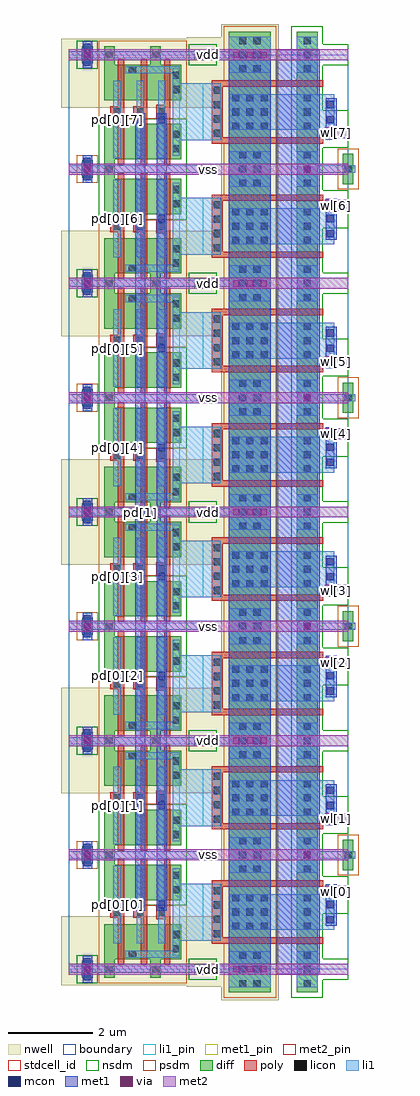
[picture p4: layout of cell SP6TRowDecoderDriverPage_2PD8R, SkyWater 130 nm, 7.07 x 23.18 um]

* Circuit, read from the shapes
.subckt SP6TRowDecoderDriverPage_2PD8R pd[0][0] pd[0][1] pd[0][2] pd[0][3] pd[0][4] pd[0][5] pd[0][6] pd[0][7] pd[1] vdd vss wl[0] wl[1] wl[2] wl[3] wl[4] wl[5] wl[6] wl[7] wl_en
XM1 n1 pd[0][0] vss VSUBS sky130_fd_pr__nfet_01v8 w=0.84 l=0.15
XM2 n2 pd[0][1] vss VSUBS sky130_fd_pr__nfet_01v8 w=0.84 l=0.15
XM3 n3 pd[0][2] vss VSUBS sky130_fd_pr__nfet_01v8 w=0.84 l=0.15
XM4 n4 pd[0][3] vss VSUBS sky130_fd_pr__nfet_01v8 w=0.84 l=0.15
XM5 n5 pd[0][4] vss VSUBS sky130_fd_pr__nfet_01v8 w=0.84 l=0.15
XM6 n6 pd[0][5] vss VSUBS sky130_fd_pr__nfet_01v8 w=0.84 l=0.15
XM7 n7 pd[0][6] vss VSUBS sky130_fd_pr__nfet_01v8 w=0.84 l=0.15
XM8 n8 pd[0][7] vss VSUBS sky130_fd_pr__nfet_01v8 w=0.84 l=0.15
XM9 n9 pd[1] n1 VSUBS sky130_fd_pr__nfet_01v8 w=0.84 l=0.15
XM10 n10 pd[1] n2 VSUBS sky130_fd_pr__nfet_01v8 w=0.84 l=0.15
XM11 n11 pd[1] n3 VSUBS sky130_fd_pr__nfet_01v8 w=0.84 l=0.15
XM12 n12 pd[1] n4 VSUBS sky130_fd_pr__nfet_01v8 w=0.84 l=0.15
XM13 n13 pd[1] n5 VSUBS sky130_fd_pr__nfet_01v8 w=0.84 l=0.15
XM14 n14 pd[1] n6 VSUBS sky130_fd_pr__nfet_01v8 w=0.84 l=0.15
XM15 n15 pd[1] n7 VSUBS sky130_fd_pr__nfet_01v8 w=0.84 l=0.15
XM16 n16 pd[1] n8 VSUBS sky130_fd_pr__nfet_01v8 w=0.84 l=0.15
XM17 SP6TRowDecoderNand3_0/wl_n wl_en n9 VSUBS sky130_fd_pr__nfet_01v8 w=0.84 l=0.15
XM18 SP6TRowDecoderNand3_2/wl_n wl_en n10 VSUBS sky130_fd_pr__nfet_01v8 w=0.84 l=0.15
XM19 SP6TRowDecoderNand3_4/wl_n wl_en n11 VSUBS sky130_fd_pr__nfet_01v8 w=0.84 l=0.15
XM20 SP6TRowDecoderNand3_6/wl_n wl_en n12 VSUBS sky130_fd_pr__nfet_01v8 w=0.84 l=0.15
XM21 SP6TRowDecoderNand3_8/wl_n wl_en n13 VSUBS sky130_fd_pr__nfet_01v8 w=0.84 l=0.15
XM22 SP6TRowDecoderNand3_10/wl_n wl_en n14 VSUBS sky130_fd_pr__nfet_01v8 w=0.84 l=0.15
XM23 SP6TRowDecoderNand3_12/wl_n wl_en n15 VSUBS sky130_fd_pr__nfet_01v8 w=0.84 l=0.15
XM24 SP6TRowDecoderNand3_14/wl_n wl_en n16 VSUBS sky130_fd_pr__nfet_01v8 w=0.84 l=0.15
XM25 wl[0] SP6TRowDecoderNand3_0/wl_n vss VSUBS sky130_fd_pr__nfet_01v8 w=0.5 l=0.15 m=2
XM26 wl[1] SP6TRowDecoderNand3_2/wl_n vss VSUBS sky130_fd_pr__nfet_01v8 w=0.5 l=0.15 m=2
XM27 wl[2] SP6TRowDecoderNand3_4/wl_n vss VSUBS sky130_fd_pr__nfet_01v8 w=0.5 l=0.15 m=2
XM28 wl[3] SP6TRowDecoderNand3_6/wl_n vss VSUBS sky130_fd_pr__nfet_01v8 w=0.5 l=0.15 m=2
XM29 wl[4] SP6TRowDecoderNand3_8/wl_n vss VSUBS sky130_fd_pr__nfet_01v8 w=0.5 l=0.15 m=2
XM30 wl[5] SP6TRowDecoderNand3_10/wl_n vss VSUBS sky130_fd_pr__nfet_01v8 w=0.5 l=0.15 m=2
XM31 wl[6] SP6TRowDecoderNand3_12/wl_n vss VSUBS sky130_fd_pr__nfet_01v8 w=0.5 l=0.15 m=2
XM32 wl[7] SP6TRowDecoderNand3_14/wl_n vss VSUBS sky130_fd_pr__nfet_01v8 w=0.5 l=0.15 m=2
XM33 SP6TRowDecoderNand3_0/wl_n pd[0][0] vdd n17 sky130_fd_pr__pfet_01v8 w=0.84 l=0.15
XM34 SP6TRowDecoderNand3_2/wl_n pd[0][1] vdd n17 sky130_fd_pr__pfet_01v8 w=0.84 l=0.15
XM35 SP6TRowDecoderNand3_4/wl_n pd[0][2] vdd n17 sky130_fd_pr__pfet_01v8 w=0.84 l=0.15
XM36 SP6TRowDecoderNand3_6/wl_n pd[0][3] vdd n17 sky130_fd_pr__pfet_01v8 w=0.84 l=0.15
XM37 SP6TRowDecoderNand3_8/wl_n pd[0][4] vdd n17 sky130_fd_pr__pfet_01v8 w=0.84 l=0.15
XM38 SP6TRowDecoderNand3_10/wl_n pd[0][5] vdd n17 sky130_fd_pr__pfet_01v8 w=0.84 l=0.15
XM39 SP6TRowDecoderNand3_12/wl_n pd[0][6] vdd n17 sky130_fd_pr__pfet_01v8 w=0.84 l=0.15
XM40 SP6TRowDecoderNand3_14/wl_n pd[0][7] vdd n17 sky130_fd_pr__pfet_01v8 w=0.84 l=0.15
XM41 vdd pd[1] SP6TRowDecoderNand3_0/wl_n n17 sky130_fd_pr__pfet_01v8 w=0.84 l=0.15
XM42 vdd pd[1] SP6TRowDecoderNand3_2/wl_n n17 sky130_fd_pr__pfet_01v8 w=0.84 l=0.15
XM43 vdd pd[1] SP6TRowDecoderNand3_4/wl_n n17 sky130_fd_pr__pfet_01v8 w=0.84 l=0.15
XM44 vdd pd[1] SP6TRowDecoderNand3_6/wl_n n17 sky130_fd_pr__pfet_01v8 w=0.84 l=0.15
XM45 vdd pd[1] SP6TRowDecoderNand3_8/wl_n n17 sky130_fd_pr__pfet_01v8 w=0.84 l=0.15
XM46 vdd pd[1] SP6TRowDecoderNand3_10/wl_n n17 sky130_fd_pr__pfet_01v8 w=0.84 l=0.15
XM47 vdd pd[1] SP6TRowDecoderNand3_12/wl_n n17 sky130_fd_pr__pfet_01v8 w=0.84 l=0.15
XM48 vdd pd[1] SP6TRowDecoderNand3_14/wl_n n17 sky130_fd_pr__pfet_01v8 w=0.84 l=0.15
XM49 SP6TRowDecoderNand3_0/wl_n wl_en vdd n17 sky130_fd_pr__pfet_01v8 w=0.84 l=0.15
XM50 SP6TRowDecoderNand3_2/wl_n wl_en vdd n17 sky130_fd_pr__pfet_01v8 w=0.84 l=0.15
XM51 SP6TRowDecoderNand3_4/wl_n wl_en vdd n17 sky130_fd_pr__pfet_01v8 w=0.84 l=0.15
XM52 SP6TRowDecoderNand3_6/wl_n wl_en vdd n17 sky130_fd_pr__pfet_01v8 w=0.84 l=0.15
XM53 SP6TRowDecoderNand3_8/wl_n wl_en vdd n17 sky130_fd_pr__pfet_01v8 w=0.84 l=0.15
XM54 SP6TRowDecoderNand3_10/wl_n wl_en vdd n17 sky130_fd_pr__pfet_01v8 w=0.84 l=0.15
XM55 SP6TRowDecoderNand3_12/wl_n wl_en vdd n17 sky130_fd_pr__pfet_01v8 w=0.84 l=0.15
XM56 SP6TRowDecoderNand3_14/wl_n wl_en vdd n17 sky130_fd_pr__pfet_01v8 w=0.84 l=0.15
XM57 wl[0] SP6TRowDecoderNand3_0/wl_n vdd n17 sky130_fd_pr__pfet_01v8 w=1 l=0.15 m=2
XM58 wl[1] SP6TRowDecoderNand3_2/wl_n vdd n17 sky130_fd_pr__pfet_01v8 w=1 l=0.15 m=2
XM59 wl[2] SP6TRowDecoderNand3_4/wl_n vdd n17 sky130_fd_pr__pfet_01v8 w=1 l=0.15 m=2
XM60 wl[3] SP6TRowDecoderNand3_6/wl_n vdd n17 sky130_fd_pr__pfet_01v8 w=1 l=0.15 m=2
XM61 wl[4] SP6TRowDecoderNand3_8/wl_n vdd n17 sky130_fd_pr__pfet_01v8 w=1 l=0.15 m=2
XM62 wl[5] SP6TRowDecoderNand3_10/wl_n vdd n17 sky130_fd_pr__pfet_01v8 w=1 l=0.15 m=2
XM63 wl[6] SP6TRowDecoderNand3_12/wl_n vdd n17 sky130_fd_pr__pfet_01v8 w=1 l=0.15 m=2
XM64 wl[7] SP6TRowDecoderNand3_14/wl_n vdd n17 sky130_fd_pr__pfet_01v8 w=1 l=0.15 m=2
.ends

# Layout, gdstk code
import gdstk
lib = gdstk.Library(unit=1e-6, precision=1e-09)
def R(c, l, rs):  # rectangles x0, y0, x1, y1
    for r in rs: c.add(gdstk.rectangle(r[:2], r[2:], *l))
def A(c, l, x, y, w, h, nx, ny, dx, dy):  # array of equal rectangles
    R(c, l, [(x+i*dx, y+j*dy, x+i*dx+w, y+j*dy+h) for i in range(nx) for j in range(ny)])
def P(c, l, *ps):  # polygons
    for p in ps: c.add(gdstk.Polygon(p, *l))
nwell = (64, 20)
diff = (65, 20)
poly = (66, 20)
licon = (66, 44)
li1_pin = (67, 16)
li1 = (67, 20)
mcon = (67, 44)
met1_pin = (68, 16)
met1 = (68, 20)
via = (68, 44)
met2_pin = (69, 16)
met2 = (69, 20)
stdcell_id = (81, 4)
nsdm = (93, 44)
psdm = (94, 20)
boundary = (235, 4)

sp6trowdecodernand3 = lib.new_cell('SP6TRowDecoderNand3')
R(sp6trowdecodernand3, nwell, [(-0.18,1.46,4.02,3.1)])
R(sp6trowdecodernand3, diff, [(0.315,-0.205,0.565,0.205), (0.315,2.51,0.565,2.92)])
P(sp6trowdecodernand3, diff, [(0.835,-0.205),(0.835,1.075),(2.675,1.075),(2.675,0.235),(1.085,0.235),(1.085,-0.205)],
  [(0.835,1.64),(0.835,2.92),(1.085,2.92),(1.085,2.48),(1.935,2.48),(1.935,2.92),(2.185,2.92),(2.185,2.48),(2.675,2.48),(2.675,1.64)])
P(sp6trowdecodernand3, poly, [(1.16,0.105),(1.16,1.225),(0.98,1.225),(0.98,1.495),(1.16,1.495),(1.16,2.61),(1.31,2.61),(1.31,0.105)],
  [(1.71,0.105),(1.71,1.225),(1.53,1.225),(1.53,1.495),(1.71,1.495),(1.71,2.61),(1.86,2.61),(1.86,0.105)],
  [(2.26,0.105),(2.26,1.195),(2.07,1.195),(2.07,1.525),(2.26,1.525),(2.26,2.61),(2.41,2.61),(2.41,0.105)])
R(sp6trowdecodernand3, licon, [(0.355,-0.085,0.525,0.085), (0.875,-0.085,1.045,0.085), (2.465,0.4,2.635,0.57), (2.465,0.74,2.635,0.91), (1.06,1.275,1.23,1.445), (1.61,1.275,1.78,1.445), (2.12,1.275,2.29,1.445), (2.465,1.805,2.635,1.975), (2.465,2.145,2.635,2.315), (1.425,2.27,1.595,2.44), (0.355,2.63,0.525,2.8), (0.875,2.63,1.045,2.8), (1.975,2.63,2.145,2.8)])
R(sp6trowdecodernand3, li1_pin, [(1.06,0.255,1.23,2.1), (1.61,0.255,1.78,2.1), (2.12,0.255,2.29,2.1), (2.465,0.32,2.635,2.395)])
R(sp6trowdecodernand3, li1, [(1.06,0.255,1.23,2.1), (1.61,0.255,1.78,2.1), (2.12,0.255,2.29,2.1)])
P(sp6trowdecodernand3, li1, [(0.355,-0.265),(0.355,-0.085),(0,-0.085),(0,0.085),(0.355,0.085),(0.355,0.265),(0.525,0.265),(0.525,0.085),(3.18,0.085),(3.18,-0.085),(0.525,-0.085),(0.525,-0.265)],
  [(0.355,2.45),(0.355,2.63),(0,2.63),(0,2.8),(0.355,2.8),(0.355,2.98),(0.525,2.98),(0.525,2.8),(3.18,2.8),(3.18,2.63),(0.525,2.63),(0.525,2.45)],
  [(2.465,0.32),(2.465,2.27),(1.345,2.27),(1.345,2.44),(2.635,2.44),(2.635,0.32)])
R(sp6trowdecodernand3, mcon, [(0.355,-0.265,0.525,-0.095), (0.355,0.095,0.525,0.265), (0.355,2.45,0.525,2.62), (0.355,2.81,0.525,2.98)])
P(sp6trowdecodernand3, met1, [(0.325,-0.325),(0.325,-0.16),(0.31,-0.16),(0.31,0.16),(0.325,0.16),(0.325,0.325),(0.555,0.325),(0.555,0.16),(0.57,0.16),(0.57,-0.16),(0.555,-0.16),(0.555,-0.325)],
  [(0.325,2.39),(0.325,2.555),(0.31,2.555),(0.31,2.875),(0.325,2.875),(0.325,3.04),(0.555,3.04),(0.555,2.875),(0.57,2.875),(0.57,2.555),(0.555,2.555),(0.555,2.39)])
R(sp6trowdecodernand3, via, [(0.365,-0.075,0.515,0.075), (0.365,2.64,0.515,2.79)])
R(sp6trowdecodernand3, met2_pin, [(0,-0.13,3.18,0.13), (0,2.585,3.18,2.845)])
R(sp6trowdecodernand3, met2, [(0,-0.13,3.18,0.13), (0,2.585,3.18,2.845)])
A(sp6trowdecodernand3, stdcell_id, 1.155, 0.23, 0.16, 0.85, 3, 1, 0.55, 0)
R(sp6trowdecodernand3, nsdm, [(0.71,-0.33,2.8,1.2), (0.19,2.385,0.69,3.045)])
R(sp6trowdecodernand3, psdm, [(0.19,-0.33,0.69,0.33), (0.71,1.2,2.8,3.045)])
R(sp6trowdecodernand3, boundary, [(0,0,3.18,2.715)])
sp6trowdecodernand3.add(gdstk.Label('vss', (1.59,0), layer=69, texttype=16))
sp6trowdecodernand3.add(gdstk.Label('vdd', (1.59,2.715), layer=69, texttype=16))
sp6trowdecodernand3.add(gdstk.Label('pd[0]', (1.145,1.177), layer=67, texttype=16))
sp6trowdecodernand3.add(gdstk.Label('wl_n', (2.55,1.357), layer=67, texttype=16))
sp6trowdecodernand3.add(gdstk.Label('pd[1]', (1.695,1.177), layer=67, texttype=16))
sp6trowdecodernand3.add(gdstk.Label('wl_en', (2.205,1.177), layer=67, texttype=16))

sp6twldrive_30ln100wn30l = lib.new_cell('SP6TWLDrive_30LN100WN30LP200WP')
P(sp6twldrive_30ln100wn30l, nwell, [(-3.015,-0.73),(-3.015,2.295),(-3.84,2.295),(-3.84,3.135),(-3.015,3.135),(-3.015,3.445),(-1.655,3.445),(-1.655,-0.73)])
R(sp6twldrive_30ln100wn30l, diff, [(-2.835,-0.55,-1.835,3.265), (-1.225,-0.55,-0.725,3.265), (-0.125,-0.36,0.125,0.36), (-3.66,2.59,-3.25,2.84)])
P(sp6twldrive_30ln100wn30l, poly, [(-3.245,0.605),(-3.245,2.11),(-0.595,2.11),(-0.595,1.96),(-2.975,1.96),(-2.975,0.755),(-0.595,0.755),(-0.595,0.605)])
A(sp6twldrive_30ln100wn30l, licon, -2.59, -0.425, 0.17, 0.17, 1, 3, 0, 0.34)
A(sp6twldrive_30ln100wn30l, licon, -2.25, -0.425, 0.17, 0.17, 1, 3, 0, 0.34)
A(sp6twldrive_30ln100wn30l, licon, -1.06, -0.425, 0.17, 0.17, 1, 3, 0, 0.34)
A(sp6twldrive_30ln100wn30l, licon, -3.195, 0.765, 0.17, 0.17, 1, 4, 0, 0.34)
A(sp6twldrive_30ln100wn30l, licon, -2.76, 0.93, 0.17, 0.17, 3, 3, 0.34, 0.34)
A(sp6twldrive_30ln100wn30l, licon, -1.06, 0.93, 0.17, 0.17, 1, 3, 0, 0.34)
A(sp6twldrive_30ln100wn30l, licon, -2.59, 2.29, 0.17, 0.17, 1, 3, 0, 0.34)
A(sp6twldrive_30ln100wn30l, licon, -2.25, 2.29, 0.17, 0.17, 1, 3, 0, 0.34)
A(sp6twldrive_30ln100wn30l, licon, -1.06, 2.29, 0.17, 0.17, 1, 3, 0, 0.34)
R(sp6twldrive_30ln100wn30l, licon, [(-0.085,-0.085,0.085,0.085), (-3.54,2.63,-3.37,2.8)])
R(sp6twldrive_30ln100wn30l, li1_pin, [(-3.455,0.685,-3.025,2.035)])
R(sp6twldrive_30ln100wn30l, li1, [(-2.835,-0.425,-1.835,0.425), (-3.455,0.685,-3.025,2.035), (-2.84,0.93,-0.335,1.78), (-1.225,2.29,-0.725,3.14)])
P(sp6twldrive_30ln100wn30l, li1, [(-1.225,-0.425),(-1.225,0.425),(-0.725,0.425),(-0.725,0.085),(0.165,0.085),(0.165,-0.085),(-0.725,-0.085),(-0.725,-0.425)],
  [(-2.835,2.29),(-2.835,2.63),(-3.62,2.63),(-3.62,2.8),(-2.835,2.8),(-2.835,3.14),(-1.835,3.14),(-1.835,2.29)])
R(sp6twldrive_30ln100wn30l, mcon, [(-2.6,-0.085,-2.43,0.085), (-2.24,-0.085,-2.07,0.085), (-1.06,-0.085,-0.89,0.085), (-0.505,1.09,-0.335,1.26), (-0.505,1.45,-0.335,1.62), (-2.6,2.63,-2.43,2.8), (-2.24,2.63,-2.07,2.8), (-1.06,2.63,-0.89,2.8)])
R(sp6twldrive_30ln100wn30l, met1, [(-2.835,-0.115,-1.835,2.845)])
P(sp6twldrive_30ln100wn30l, met1, [(-1.135,-0.13),(-1.135,-0.115),(-1.695,-0.115),(-1.695,2.83),(-0.675,2.83),(-0.675,-0.115),(-0.815,-0.115),(-0.815,-0.13)],
  [(-0.53,0.7),(-0.53,1.03),(-0.535,1.03),(-0.535,1.68),(-0.27,1.68),(-0.27,0.7)])
A(sp6twldrive_30ln100wn30l, via, -2.73, 2.64, 0.15, 0.15, 3, 1, 0.32, 0)
R(sp6twldrive_30ln100wn30l, via, [(-1.05,-0.075,-0.9,0.075), (-0.475,0.785,-0.325,0.935)])
R(sp6twldrive_30ln100wn30l, met2_pin, [(-3.455,-0.13,0,0.13), (-0.56,0.73,0,0.99), (-3.455,2.585,0,2.845)])
R(sp6twldrive_30ln100wn30l, met2, [(-3.455,-0.13,0,0.13), (-0.56,0.73,0,0.99), (-3.455,2.585,0,2.845)])
R(sp6twldrive_30ln100wn30l, stdcell_id, [(-1.23,0.6,-0.72,0.76), (-1.23,1.955,-0.72,2.115)])
R(sp6twldrive_30ln100wn30l, nsdm, [(-3.785,2.465,-3.125,2.965)])
P(sp6twldrive_30ln100wn30l, nsdm, [(-1.35,-0.675),(-1.35,3.39),(-0.6,3.39),(-0.6,2.965),(0,2.965),(0,2.465),(-0.6,2.465),(-0.6,1.4),(0,1.4),(0,0.505),(-0.6,0.505),(-0.6,-0.675)])
R(sp6twldrive_30ln100wn30l, psdm, [(-0.25,-0.485,0.25,0.485)])
P(sp6twldrive_30ln100wn30l, psdm, [(-2.96,-0.675),(-2.96,0.61),(-3.245,0.61),(-3.245,2.11),(-2.96,2.11),(-2.96,3.39),(-1.71,3.39),(-1.71,-0.675)])
R(sp6twldrive_30ln100wn30l, boundary, [(-3.455,0,0,2.715)])
sp6twldrive_30ln100wn30l.add(gdstk.Label('vss', (-1.728,0), layer=69, texttype=16))
sp6twldrive_30ln100wn30l.add(gdstk.Label('wl_drive', (-0.28,0.86), layer=69, texttype=16))
sp6twldrive_30ln100wn30l.add(gdstk.Label('vdd', (-1.728,2.715), layer=69, texttype=16))
sp6twldrive_30ln100wn30l.add(gdstk.Label('wl_n', (-3.24,1.36), layer=67, texttype=16))

sp6trowdecoderdriverpage = lib.new_cell('SP6TRowDecoderDriverPage_2PD8R')
R(sp6trowdecoderdriverpage, li1_pin, [(1.06,0.615,1.23,2.46), (1.06,2.97,1.23,4.815), (1.06,6.045,1.23,7.89), (1.06,8.4,1.23,10.245), (1.06,11.475,1.23,13.32), (1.06,13.83,1.23,15.675), (1.06,16.905,1.23,18.75), (1.06,19.26,1.23,21.105)])
R(sp6trowdecoderdriverpage, li1, [(1.06,0.615,1.23,2.46), (2.465,0.68,3.61,2.03), (1.61,1.455,1.78,1.625), (2.12,1.455,2.29,1.625), (1.06,2.97,1.23,4.815), (2.465,3.4,3.61,4.75), (1.61,3.805,1.78,3.975), (2.12,3.805,2.29,3.975), (1.06,6.045,1.23,7.89), (2.465,6.11,3.61,7.46), (1.61,6.88,1.78,7.05), (2.12,6.88,2.29,7.05), (1.06,8.4,1.23,10.245), (2.465,8.83,3.61,10.18), (1.61,9.235,1.78,9.405), (2.12,9.235,2.29,9.405), (1.06,11.475,1.23,13.32), (2.465,11.54,3.61,12.89), (1.61,12.315,1.78,12.485), (2.12,12.315,2.29,12.485), (1.06,13.83,1.23,15.675), (2.465,14.26,3.61,15.61), (1.61,14.665,1.78,14.835), (2.12,14.665,2.29,14.835), (1.06,16.905,1.23,18.75), (2.465,16.97,3.61,18.32), (1.61,17.745,1.78,17.915), (2.12,17.745,2.29,17.915), (1.06,19.26,1.23,21.105), (2.465,19.69,3.61,21.04), (1.61,20.095,1.78,20.265), (2.12,20.095,2.29,20.265)])
R(sp6trowdecoderdriverpage, mcon, [(1.61,1.455,1.78,1.625), (2.12,1.455,2.29,1.625), (1.61,3.805,1.78,3.975), (2.12,3.805,2.29,3.975), (1.61,6.88,1.78,7.05), (2.12,6.88,2.29,7.05), (1.61,9.235,1.78,9.405), (2.12,9.235,2.29,9.405), (1.61,12.315,1.78,12.485), (2.12,12.315,2.29,12.485), (1.61,14.665,1.78,14.835), (2.12,14.665,2.29,14.835), (1.61,17.745,1.78,17.915), (2.12,17.745,2.29,17.915), (1.61,20.095,1.78,20.265), (2.12,20.095,2.29,20.265)])
R(sp6trowdecoderdriverpage, met1_pin, [(1.58,1.395,1.81,20.325), (2.09,1.395,2.32,20.325)])
R(sp6trowdecoderdriverpage, met1, [(1.58,1.395,1.81,20.325), (2.09,1.395,2.32,20.325)])
A(sp6trowdecoderdriverpage, met2_pin, 0, -0.13, 6.635, 0.26, 1, 9, 0, 2.715)
R(sp6trowdecoderdriverpage, met2_pin, [(6.075,1.725,6.635,1.985), (6.075,3.445,6.635,3.705), (6.075,7.155,6.635,7.415), (6.075,8.875,6.635,9.135), (6.075,12.585,6.635,12.845), (6.075,14.305,6.635,14.565), (6.075,18.015,6.635,18.275), (6.075,19.735,6.635,19.995)])
A(sp6trowdecoderdriverpage, met2, 0, -0.13, 6.635, 0.26, 1, 9, 0, 2.715)
R(sp6trowdecoderdriverpage, met2, [(6.075,1.725,6.635,1.985), (6.075,3.445,6.635,3.705), (6.075,7.155,6.635,7.415), (6.075,8.875,6.635,9.135), (6.075,12.585,6.635,12.845), (6.075,14.305,6.635,14.565), (6.075,18.015,6.635,18.275), (6.075,19.735,6.635,19.995)])
R(sp6trowdecoderdriverpage, boundary, [(0,0,6.635,21.72)])
sp6trowdecoderdriverpage.add(gdstk.Reference(sp6trowdecodernand3, (0,2.715), x_reflection=True))
sp6trowdecoderdriverpage.add(gdstk.Reference(sp6twldrive_30ln100wn30l, (6.635,2.715), x_reflection=True))
sp6trowdecoderdriverpage.add(gdstk.Reference(sp6trowdecodernand3, (0,2.715)))
sp6trowdecoderdriverpage.add(gdstk.Reference(sp6twldrive_30ln100wn30l, (6.635,2.715)))
sp6trowdecoderdriverpage.add(gdstk.Reference(sp6trowdecodernand3, (0,8.145), x_reflection=True))
sp6trowdecoderdriverpage.add(gdstk.Reference(sp6twldrive_30ln100wn30l, (6.635,8.145), x_reflection=True))
sp6trowdecoderdriverpage.add(gdstk.Reference(sp6trowdecodernand3, (0,8.145)))
sp6trowdecoderdriverpage.add(gdstk.Reference(sp6twldrive_30ln100wn30l, (6.635,8.145)))
sp6trowdecoderdriverpage.add(gdstk.Reference(sp6trowdecodernand3, (0,13.575), x_reflection=True))
sp6trowdecoderdriverpage.add(gdstk.Reference(sp6twldrive_30ln100wn30l, (6.635,13.575), x_reflection=True))
sp6trowdecoderdriverpage.add(gdstk.Reference(sp6trowdecodernand3, (0,13.575)))
sp6trowdecoderdriverpage.add(gdstk.Reference(sp6twldrive_30ln100wn30l, (6.635,13.575)))
sp6trowdecoderdriverpage.add(gdstk.Reference(sp6trowdecodernand3, (0,19.005), x_reflection=True))
sp6trowdecoderdriverpage.add(gdstk.Reference(sp6twldrive_30ln100wn30l, (6.635,19.005), x_reflection=True))
sp6trowdecoderdriverpage.add(gdstk.Reference(sp6trowdecodernand3, (0,19.005)))
sp6trowdecoderdriverpage.add(gdstk.Reference(sp6twldrive_30ln100wn30l, (6.635,19.005)))
sp6trowdecoderdriverpage.add(gdstk.Label('wl[0]', (6.355,1.855), layer=69, texttype=16))
sp6trowdecoderdriverpage.add(gdstk.Label('vdd', (3.318,10.86), layer=69, texttype=16))
sp6trowdecoderdriverpage.add(gdstk.Label('vdd', (3.318,5.43), layer=69, texttype=16))
sp6trowdecoderdriverpage.add(gdstk.Label('vdd', (3.318,21.72), layer=69, texttype=16))
sp6trowdecoderdriverpage.add(gdstk.Label('vdd', (3.318,16.29), layer=69, texttype=16))
sp6trowdecoderdriverpage.add(gdstk.Label('vdd', (3.318,0), layer=69, texttype=16))
sp6trowdecoderdriverpage.add(gdstk.Label('wl[1]', (6.355,3.575), layer=69, texttype=16))
sp6trowdecoderdriverpage.add(gdstk.Label('vss', (3.318,13.575), layer=69, texttype=16))
sp6trowdecoderdriverpage.add(gdstk.Label('vss', (3.318,19.005), layer=69, texttype=16))
sp6trowdecoderdriverpage.add(gdstk.Label('vss', (3.318,8.145), layer=69, texttype=16))
sp6trowdecoderdriverpage.add(gdstk.Label('vss', (3.318,2.715), layer=69, texttype=16))
sp6trowdecoderdriverpage.add(gdstk.Label('wl[2]', (6.355,7.285), layer=69, texttype=16))
sp6trowdecoderdriverpage.add(gdstk.Label('wl[3]', (6.355,9.005), layer=69, texttype=16))
sp6trowdecoderdriverpage.add(gdstk.Label('wl[4]', (6.355,12.715), layer=69, texttype=16))
sp6trowdecoderdriverpage.add(gdstk.Label('wl[5]', (6.355,14.435), layer=69, texttype=16))
sp6trowdecoderdriverpage.add(gdstk.Label('wl[6]', (6.355,18.145), layer=69, texttype=16))
sp6trowdecoderdriverpage.add(gdstk.Label('wl[7]', (6.355,19.865), layer=69, texttype=16))
sp6trowdecoderdriverpage.add(gdstk.Label('pd[1]', (1.695,10.86), layer=68, texttype=16))
sp6trowdecoderdriverpage.add(gdstk.Label('wl_en', (2.205,10.86), layer=68, texttype=16))
sp6trowdecoderdriverpage.add(gdstk.Label('pd[0][0]', (1.145,1.538), layer=67, texttype=16))
sp6trowdecoderdriverpage.add(gdstk.Label('pd[0][1]', (1.145,3.892), layer=67, texttype=16))
sp6trowdecoderdriverpage.add(gdstk.Label('pd[0][2]', (1.145,6.967), layer=67, texttype=16))
sp6trowdecoderdriverpage.add(gdstk.Label('pd[0][3]', (1.145,9.322), layer=67, texttype=16))
sp6trowdecoderdriverpage.add(gdstk.Label('pd[0][4]', (1.145,12.398), layer=67, texttype=16))
sp6trowdecoderdriverpage.add(gdstk.Label('pd[0][5]', (1.145,14.752), layer=67, texttype=16))
sp6trowdecoderdriverpage.add(gdstk.Label('pd[0][6]', (1.145,17.828), layer=67, texttype=16))
sp6trowdecoderdriverpage.add(gdstk.Label('pd[0][7]', (1.145,20.182), layer=67, texttype=16))

lib.write_gds('SP6TRowDecoderDriverPage_2PD8R.gds')
